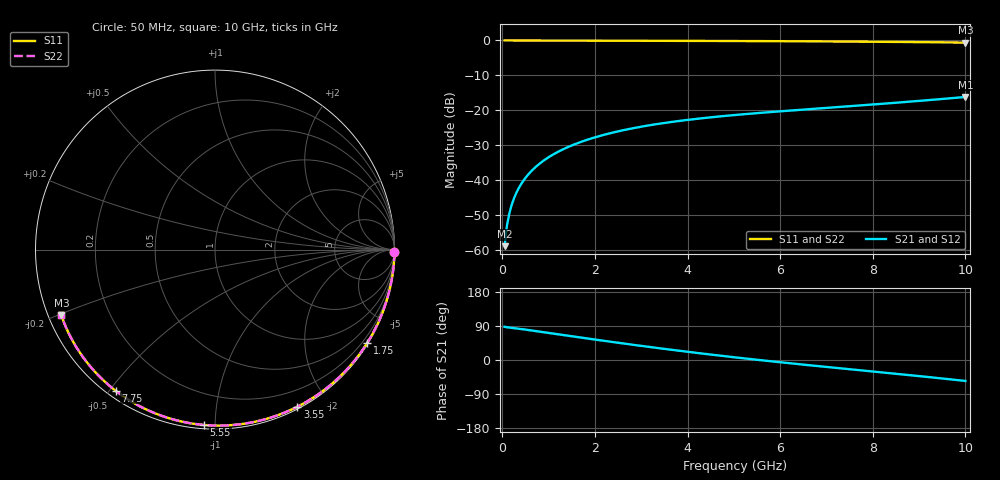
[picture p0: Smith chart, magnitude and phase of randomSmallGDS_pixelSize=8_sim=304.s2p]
! freq	dB(S11)	phase(S11)	dB(S12)	phase(S12)
!  dB(S21)	phase(S21)	dB(S22)	phase(S22)
!S-par simulation data
#  GHz  S  DB  R 50
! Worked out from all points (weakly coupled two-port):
!   200 points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, 50 MHz to 10 GHz, reference 50 ohm
!   highest |S21| = -16.20 dB at 10 GHz (marker M1); lowest = -59.0 dB at 50 MHz (marker M2)
!   lowest |S11| = -0.6 dB at 10 GHz (marker M3), VSWR 28.12, Z = 1.85 - j10.2 ohm
!   |S11| at or under -10 dB: nowhere
!   |S22| runs from -0.6 to 0.0 dB; largest |S21 - S12| = 0
!   S11 on the Smith chart (normalised r, x): 50 MHz: open; 1.75 GHz: 0.04, -3.53; 3.55 GHz: 0.02, -1.65; 5.55 GHz: 0.02, -0.94; 7.75 GHz: 0.02, -0.52; 10 GHz: 0.04, -0.20
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0.05  -0.00 -0.9  -58.97 87.6  -58.97 87.6  -0.00 -0.9
0.1  -0.00 -1.8  -53.12 86.4  -53.12 86.4  -0.00 -1.8
0.15  -0.00 -2.8  -49.70 85.7  -49.70 85.7  -0.00 -2.8
0.2  -0.00 -3.7  -47.25 85.0  -47.25 85.0  -0.00 -3.7
0.25  -0.00 -4.6  -45.35 84.2  -45.35 84.2  -0.00 -4.6
0.35  -0.00 -6.4  -42.46 82.7  -42.46 82.7  -0.00 -6.4
0.5  -0.01 -9.2  -39.40 80.2  -39.40 80.2  -0.01 -9.2
0.7  -0.02 -12.8  -36.51 76.7  -36.51 76.7  -0.02 -12.8
1  -0.02 -18.2  -33.48 71.4  -33.48 71.4  -0.02 -18.2
1.35  -0.03 -24.5  -30.96 65.3  -30.96 65.3  -0.03 -24.5
1.75  -0.05 -31.6  -28.84 58.3  -28.84 58.3  -0.05 -31.6
2.5  -0.07 -44.7  -26.06 45.5  -26.06 45.5  -0.07 -44.7
3.4  -0.10 -59.8  -23.85 30.9  -23.85 30.9  -0.10 -59.8
3.55  -0.10 -62.3  -23.56 28.5  -23.56 28.5  -0.10 -62.3
4.3  -0.13 -74.4  -22.32 17.2  -22.32 17.2  -0.13 -74.4
5.05  -0.16 -86.0  -21.34 6.6  -21.34 6.6  -0.16 -86.0
5.55  -0.18 -93.6  -20.78 -0.1  -20.78 -0.1  -0.18 -93.6
6.7  -0.25 -110.3  -19.63 -14.7  -19.63 -14.7  -0.25 -110.3
7.75  -0.34 -125.2  -18.62 -27.3  -18.62 -27.3  -0.34 -125.2
8.35  -0.40 -133.6  -18.01 -34.5  -18.01 -34.5  -0.40 -133.6
9.2  -0.50 -145.4  -17.11 -44.9  -17.11 -44.9  -0.50 -145.4
10  -0.62 -156.8  -16.20 -55.2  -16.20 -55.2  -0.62 -156.8
